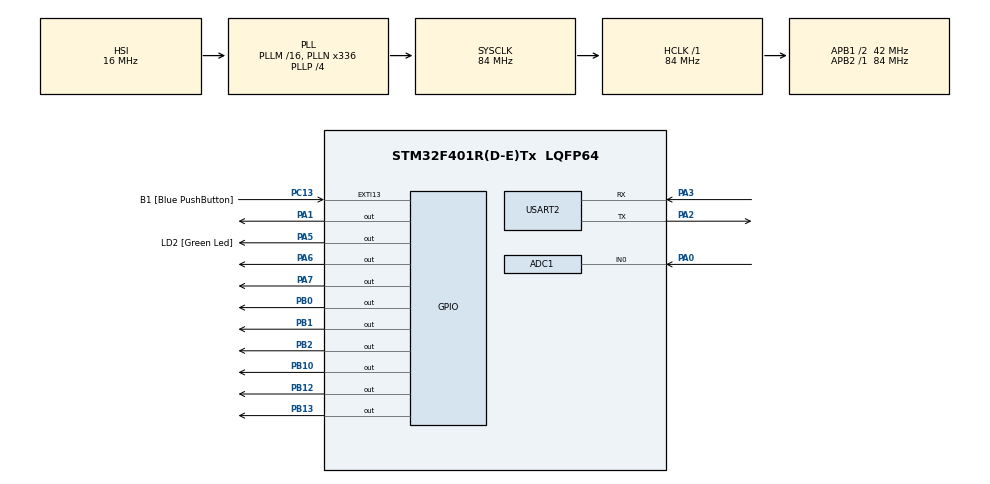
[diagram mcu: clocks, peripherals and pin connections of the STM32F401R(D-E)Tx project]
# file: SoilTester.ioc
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ADC1.Channel-1\#ChannelRegularConversion=ADC_CHANNEL_0
ADC1.NbrOfConversionFlag=1
ADC1.Rank-1\#ChannelRegularConversion=1
ADC1.SamplingTime-1\#ChannelRegularConversion=ADC_SAMPLETIME_3CYCLES
ADC1.master=1
Mcu.Family=STM32F4
Mcu.Name=STM32F401R(D-E)Tx
Mcu.Package=LQFP64
NVIC.PriorityGroup=NVIC_PRIORITYGROUP_4
PA0-WKUP.Signal=ADCx_IN0
PA1.Signal=GPIO_Output
PA13.GPIO_Label=TMS
PA13.Mode=Trace_Asynchronous_SW
PA13.Signal=SYS_JTMS-SWDIO
PA14.GPIO_Label=TCK
PA14.Mode=Trace_Asynchronous_SW
PA14.Signal=SYS_JTCK-SWCLK
PA2.Mode=Asynchronous
PA2.Signal=USART2_TX
PA3.Mode=Asynchronous
PA3.Signal=USART2_RX
PA5.GPIO_Label=LD2 [Green Led]
PA5.GPIO_Mode=GPIO_MODE_OUTPUT_PP
PA5.GPIO_PuPd=GPIO_NOPULL
PA5.GPIO_Speed=GPIO_SPEED_FREQ_LOW
PA5.Signal=GPIO_Output
PA6.Signal=GPIO_Output
PA7.Signal=GPIO_Output
PB0.Signal=GPIO_Output
PB1.Signal=GPIO_Output
PB10.Signal=GPIO_Output
PB12.Signal=GPIO_Output
PB13.Signal=GPIO_Output
PB2.Signal=GPIO_Output
PB3.GPIO_Label=SWO
PB3.Mode=Trace_Asynchronous_SW
PB3.Signal=SYS_JTDO-SWO
PC13-ANTI_TAMP.GPIO_Label=B1 [Blue PushButton]
PC13-ANTI_TAMP.GPIO_ModeDefaultEXTI=GPIO_MODE_IT_FALLING
PC13-ANTI_TAMP.GPIO_PuPd=GPIO_NOPULL
PC13-ANTI_TAMP.Signal=GPXTI13
PC14-OSC32_IN.Mode=LSE-External-Oscillator
PC14-OSC32_IN.Signal=RCC_OSC32_IN
PC15-OSC32_OUT.Mode=LSE-External-Oscillator
PC15-OSC32_OUT.Signal=RCC_OSC32_OUT
PH0\ -\ OSC_IN.Mode=HSE-External-Clock-Source
PH0\ -\ OSC_IN.Signal=RCC_OSC_IN
PH1\ -\ OSC_OUT.Mode=HSE-External-Clock-Source
PH1\ -\ OSC_OUT.Signal=RCC_OSC_OUT
ProjectManager.HeapSize=0x200
ProjectManager.StackSize=0x400
ProjectManager.TargetToolchain=STM32CubeIDE
RCC.48MHZClocksFreq_Value=48000000
RCC.AHBFreq_Value=84000000
RCC.APB1CLKDivider=RCC_HCLK_DIV2
RCC.APB1Freq_Value=42000000
RCC.APB1TimFreq_Value=84000000
RCC.APB2Freq_Value=84000000
RCC.APB2TimFreq_Value=84000000
RCC.CortexFreq_Value=84000000
RCC.HCLKFreq_Value=84000000
RCC.HSE_VALUE=8000000
RCC.HSI_VALUE=16000000
RCC.PLLN=336
RCC.PLLP=RCC_PLLP_DIV4
RCC.PLLQ=7
RCC.SYSCLKFreq_VALUE=84000000
RCC.SYSCLKSource=RCC_SYSCLKSOURCE_PLLCLK
RCC.VCOOutputFreq_Value=336000000
SH.ADCx_IN0.0=ADC1_IN0,IN0
TIM2.Prescaler=83
USART2.VirtualMode=VM_ASYNC
VP_TIM2_VS_ClockSourceINT.Mode=Internal
board=NUCLEO-F401RE

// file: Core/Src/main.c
/* USER CODE BEGIN Header */
/**
  ******************************************************************************
  * @file           : main.c
  * @brief          : Main program body
  ******************************************************************************
  * @attention
  *
  * Copyright (c) 2026 STMicroelectronics.
  * All rights reserved.
  *
  * This software is licensed under terms that can be found in the LICENSE file
  * in the root directory of this software component.
  * If no LICENSE file comes with this software, it is provided AS-IS.
  *
  ******************************************************************************
  */
/* USER CODE END Header */

#include "main.h"
#include <stdio.h>

/* USER CODE BEGIN PD */
#define DHT11_PORT GPIOA
#define DHT11_PIN  GPIO_PIN_1

#define LCD_RS_PORT GPIOB
#define LCD_RS_PIN  GPIO_PIN_0

#define LCD_E_PORT  GPIOB
#define LCD_E_PIN   GPIO_PIN_1

#define LCD_D4_PORT GPIOB
#define LCD_D4_PIN  GPIO_PIN_2

#define LCD_D5_PORT GPIOB
#define LCD_D5_PIN  GPIO_PIN_10

#define LCD_D6_PORT GPIOB
#define LCD_D6_PIN  GPIO_PIN_12

#define LCD_D7_PORT GPIOB
#define LCD_D7_PIN  GPIO_PIN_13
/* USER CODE END PD */

ADC_HandleTypeDef hadc1;

TIM_HandleTypeDef htim2;

UART_HandleTypeDef huart2;

/* USER CODE BEGIN PV */

uint8_t Rh_byte1, Rh_byte2, Temp_byte1, Temp_byte2;
uint16_t SUM;
uint8_t Presence = 0;

char lcd_line1[17];
char lcd_line2[17];

/* USER CODE END PV */

void SystemClock_Config(void);
static void MX_GPIO_Init(void);
static void MX_ADC1_Init(void);
static void MX_USART2_UART_Init(void);
static void MX_TIM2_Init(void);
/* USER CODE BEGIN PFP */
void Delay_us(uint16_t us);
void Set_Pin_Output(GPIO_TypeDef *GPIOx, uint16_t GPIO_Pin);
void Set_Pin_Input(GPIO_TypeDef *GPIOx, uint16_t GPIO_Pin);

void DHT11_Start(void);
uint8_t DHT11_Check_Response(void);
uint8_t DHT11_Read(void);

uint16_t Read_ADC_Value(void);
const char* Get_Soil_Status(uint16_t moisture);
void Update_Soil_LEDs(uint16_t moisture);

void LCD_PulseEnable(void);
void LCD_Write4Bits(uint8_t nibble);
void LCD_SendCommand(uint8_t cmd);
void LCD_SendData(uint8_t data);
void LCD_Init(void);
void LCD_Clear(void);
void LCD_SetCursor(uint8_t row, uint8_t col);
void LCD_SendString(char *str);
void LCD_PrintFixedLine(uint8_t row, char *text);
/* USER CODE END PFP */
/* USER CODE END 0 */

/* USER CODE END PFP */

/* USER CODE BEGIN 0 */

void Delay_us(uint16_t us)
{
    __HAL_TIM_SET_COUNTER(&htim2, 0);
    while (__HAL_TIM_GET_COUNTER(&htim2) < us);
}

void Set_Pin_Output(GPIO_TypeDef *GPIOx, uint16_t GPIO_Pin)
{
    GPIO_InitTypeDef GPIO_InitStruct = {0};
    GPIO_InitStruct.Pin = GPIO_Pin;
    GPIO_InitStruct.Mode = GPIO_MODE_OUTPUT_PP;
    GPIO_InitStruct.Pull = GPIO_NOPULL;
    GPIO_InitStruct.Speed = GPIO_SPEED_FREQ_LOW;
    HAL_GPIO_Init(GPIOx, &GPIO_InitStruct);
}

void Set_Pin_Input(GPIO_TypeDef *GPIOx, uint16_t GPIO_Pin)
{
    GPIO_InitTypeDef GPIO_InitStruct = {0};
    GPIO_InitStruct.Pin = GPIO_Pin;
    GPIO_InitStruct.Mode = GPIO_MODE_INPUT;
    GPIO_InitStruct.Pull = GPIO_PULLUP;
    HAL_GPIO_Init(GPIOx, &GPIO_InitStruct);
}

/* ---------------- DHT11 ---------------- */

void DHT11_Start(void)
{
    Set_Pin_Output(DHT11_PORT, DHT11_PIN);
    HAL_GPIO_WritePin(DHT11_PORT, DHT11_PIN, GPIO_PIN_RESET);
    HAL_Delay(20);
    HAL_GPIO_WritePin(DHT11_PORT, DHT11_PIN, GPIO_PIN_SET);
    Delay_us(40);
    Set_Pin_Input(DHT11_PORT, DHT11_PIN);
}

uint8_t DHT11_Check_Response(void)
{
    uint32_t timeout = 0;

    Delay_us(40);

    if (HAL_GPIO_ReadPin(DHT11_PORT, DHT11_PIN) == GPIO_PIN_RESET)
    {
        timeout = 0;
        while (HAL_GPIO_ReadPin(DHT11_PORT, DHT11_PIN) == GPIO_PIN_RESET)
        {
            Delay_us(1);
            if (++timeout > 100) return 0;
        }

        timeout = 0;
        while (HAL_GPIO_ReadPin(DHT11_PORT, DHT11_PIN) == GPIO_PIN_SET)
        {
            Delay_us(1);
            if (++timeout > 100) return 0;
        }

        return 1;
    }

    return 0;
}

uint8_t DHT11_Read(void)
{
    uint8_t i = 0;
    uint32_t timeout = 0;

    for (uint8_t j = 0; j < 8; j++)
    {
        timeout = 0;
        while (HAL_GPIO_ReadPin(DHT11_PORT, DHT11_PIN) == GPIO_PIN_RESET)
        {
            Delay_us(1);
            if (++timeout > 100) return 0;
        }

        Delay_us(30);

        if (HAL_GPIO_ReadPin(DHT11_PORT, DHT11_PIN) == GPIO_PIN_SET)
        {
            i |= (1 << (7 - j));
        }

        timeout = 0;
        while (HAL_GPIO_ReadPin(DHT11_PORT, DHT11_PIN) == GPIO_PIN_SET)
        {
            Delay_us(1);
            if (++timeout > 100) break;
        }
    }

    return i;
}

/* ---------------- ADC / Soil ---------------- */

uint16_t Read_ADC_Value(void)
{
    uint16_t adc_value = 0;

    HAL_ADC_Start(&hadc1);

    if (HAL_ADC_PollForConversion(&hadc1, 100) == HAL_OK)
    {
        adc_value = HAL_ADC_GetValue(&hadc1);
    }

    HAL_ADC_Stop(&hadc1);

    return adc_value;
}

/* Adapted from your working logic:
   moisture < 1500   -> DRY
   moisture < 2200   -> MEDIUM
   else              -> WET
*/
const char* Get_Soil_Status(uint16_t moisture)
{
    if (moisture < 1500)
    {
        return "DRY";
    }
    else if (moisture < 2200)
    {
        return "MEDIUM";
    }
    else
    {
        return "WET";
    }
}

void Update_Soil_LEDs(uint16_t moisture)
{
    HAL_GPIO_WritePin(GPIOA, GPIO_PIN_5, GPIO_PIN_RESET); // Green
    HAL_GPIO_WritePin(GPIOA, GPIO_PIN_6, GPIO_PIN_RESET); // Yellow
    HAL_GPIO_WritePin(GPIOA, GPIO_PIN_7, GPIO_PIN_RESET); // Red

    if (moisture < 1500)
    {
        HAL_GPIO_WritePin(GPIOA, GPIO_PIN_7, GPIO_PIN_SET); // Red
    }
    else if (moisture < 2200)
    {
        HAL_GPIO_WritePin(GPIOA, GPIO_PIN_6, GPIO_PIN_SET); // Yellow
    }
    else
    {
        HAL_GPIO_WritePin(GPIOA, GPIO_PIN_5, GPIO_PIN_SET); // Green
    }
}

/* ---------------- LCD ---------------- */

void LCD_PulseEnable(void)
{
    HAL_GPIO_WritePin(LCD_E_PORT, LCD_E_PIN, GPIO_PIN_SET);
    HAL_Delay(1);
    HAL_GPIO_WritePin(LCD_E_PORT, LCD_E_PIN, GPIO_PIN_RESET);
    HAL_Delay(1);
}

void LCD_Write4Bits(uint8_t nibble)
{
    HAL_GPIO_WritePin(LCD_D4_PORT, LCD_D4_PIN, (nibble & 0x01) ? GPIO_PIN_SET : GPIO_PIN_RESET);
    HAL_GPIO_WritePin(LCD_D5_PORT, LCD_D5_PIN, (nibble & 0x02) ? GPIO_PIN_SET : GPIO_PIN_RESET);
    HAL_GPIO_WritePin(LCD_D6_PORT, LCD_D6_PIN, (nibble & 0x04) ? GPIO_PIN_SET : GPIO_PIN_RESET);
    HAL_GPIO_WritePin(LCD_D7_PORT, LCD_D7_PIN, (nibble & 0x08) ? GPIO_PIN_SET : GPIO_PIN_RESET);

    LCD_PulseEnable();
}

void LCD_SendCommand(uint8_t cmd)
{
    HAL_GPIO_WritePin(LCD_RS_PORT, LCD_RS_PIN, GPIO_PIN_RESET);
    LCD_Write4Bits((cmd >> 4) & 0x0F);
    LCD_Write4Bits(cmd & 0x0F);
    HAL_Delay(2);
}

void LCD_SendData(uint8_t data)
{
    HAL_GPIO_WritePin(LCD_RS_PORT, LCD_RS_PIN, GPIO_PIN_SET);
    LCD_Write4Bits((data >> 4) & 0x0F);
    LCD_Write4Bits(data & 0x0F);
    HAL_Delay(2);
}

void LCD_Init(void)
{
    HAL_Delay(50);

    HAL_GPIO_WritePin(LCD_RS_PORT, LCD_RS_PIN, GPIO_PIN_RESET);
    HAL_GPIO_WritePin(LCD_E_PORT, LCD_E_PIN, GPIO_PIN_RESET);

    LCD_Write4Bits(0x03);
    HAL_Delay(5);
    LCD_Write4Bits(0x03);
    HAL_Delay(5);
    LCD_Write4Bits(0x03);
    HAL_Delay(5);
    LCD_Write4Bits(0x02);
    HAL_Delay(5);

    LCD_SendCommand(0x28); // 4-bit, 2-line
    LCD_SendCommand(0x08); // display off
    LCD_SendCommand(0x01); // clear
    HAL_Delay(3);
    LCD_SendCommand(0x06); // entry mode
    LCD_SendCommand(0x0C); // display on, cursor off
}

void LCD_Clear(void)
{
    LCD_SendCommand(0x01);
    HAL_Delay(3);
}

void LCD_SetCursor(uint8_t row, uint8_t col)
{
    uint8_t addr = (row == 0) ? (0x80 + col) : (0xC0 + col);
    LCD_SendCommand(addr);
}

void LCD_SendString(char *str)
{
    while (*str)
    {
        LCD_SendData(*str++);
    }
}

void LCD_PrintFixedLine(uint8_t row, char *text)
{
    char buffer[17];
    snprintf(buffer, sizeof(buffer), "%-16s", text);
    LCD_SetCursor(row, 0);
    LCD_SendString(buffer);
}

/* USER CODE END 0 */

int main(void)
{

  /* MCU Configuration--------------------------------------------------------*/

  /* Reset of all peripherals, Initializes the Flash interface and the Systick. */
  HAL_Init();

  /* Configure the system clock */
  SystemClock_Config();

  /* Initialize all configured peripherals */
  MX_GPIO_Init();
  MX_ADC1_Init();
  MX_USART2_UART_Init();
  MX_TIM2_Init();
  /* USER CODE BEGIN 2 */

  HAL_TIM_Base_Start(&htim2);

  LCD_Init();
  LCD_Clear();
  LCD_PrintFixedLine(0, "Smart Soil Test");
  LCD_PrintFixedLine(1, "Starting...");
  HAL_Delay(1500);

  /* USER CODE END 2 */

  /* Infinite loop */
  /* USER CODE BEGIN WHILE */
  while (1)
  {
          uint16_t moisture = Read_ADC_Value();
          const char *soil_status = Get_Soil_Status(moisture);
          uint8_t dht_ok = 0;

          DHT11_Start();
          Presence = DHT11_Check_Response();

          if (!Presence)
          {
              HAL_Delay(50);
              DHT11_Start();
              Presence = DHT11_Check_Response();
          }

          if (Presence)
          {
              Rh_byte1   = DHT11_Read();
              Rh_byte2   = DHT11_Read();
              Temp_byte1 = DHT11_Read();
              Temp_byte2 = DHT11_Read();
              SUM        = DHT11_Read();

              if (SUM == (Rh_byte1 + Rh_byte2 + Temp_byte1 + Temp_byte2))
              {
                  dht_ok = 1;
              }
          }

          Update_Soil_LEDs(moisture);

          if (dht_ok)
          {
              snprintf(lcd_line1, sizeof(lcd_line1), "T:%2dC H:%2d%%", Temp_byte1, Rh_byte1);
              snprintf(lcd_line2, sizeof(lcd_line2), "S:%-6s %4u", soil_status, moisture);

              printf("Temp: %d C | Humidity: %d %% | Moisture: %u | Status: %s\r\n",
                     Temp_byte1, Rh_byte1, moisture, soil_status);
          }
          else
          {
              snprintf(lcd_line1, sizeof(lcd_line1), "T/H Read Failed");
              snprintf(lcd_line2, sizeof(lcd_line2), "S:%-6s %4u", soil_status, moisture);

              printf("Temp/Humidity read failed | Moisture: %u | Status: %s\r\n",
                     moisture, soil_status);
          }

          LCD_PrintFixedLine(0, lcd_line1);
          LCD_PrintFixedLine(1, lcd_line2);

          HAL_Delay(3000);
      }
    /* USER CODE END 3 */
}

void SystemClock_Config(void)
{
  RCC_OscInitTypeDef RCC_OscInitStruct = {0};
  RCC_ClkInitTypeDef RCC_ClkInitStruct = {0};

  /** Configure the main internal regulator output voltage
  */
  __HAL_RCC_PWR_CLK_ENABLE();
  __HAL_PWR_VOLTAGESCALING_CONFIG(PWR_REGULATOR_VOLTAGE_SCALE2);

  /** Initializes the RCC Oscillators according to the specified parameters
  * in the RCC_OscInitTypeDef structure.
  */
  RCC_OscInitStruct.OscillatorType = RCC_OSCILLATORTYPE_HSI;
  RCC_OscInitStruct.HSIState = RCC_HSI_ON;
  RCC_OscInitStruct.HSICalibrationValue = RCC_HSICALIBRATION_DEFAULT;
  RCC_OscInitStruct.PLL.PLLState = RCC_PLL_ON;
  RCC_OscInitStruct.PLL.PLLSource = RCC_PLLSOURCE_HSI;
  RCC_OscInitStruct.PLL.PLLM = 16;
  RCC_OscInitStruct.PLL.PLLN = 336;
  RCC_OscInitStruct.PLL.PLLP = RCC_PLLP_DIV4;
  RCC_OscInitStruct.PLL.PLLQ = 7;
  if (HAL_RCC_OscConfig(&RCC_OscInitStruct) != HAL_OK)
  {
    Error_Handler();
  }

  /** Initializes the CPU, AHB and APB buses clocks
  */
  RCC_ClkInitStruct.ClockType = RCC_CLOCKTYPE_HCLK|RCC_CLOCKTYPE_SYSCLK
                              |RCC_CLOCKTYPE_PCLK1|RCC_CLOCKTYPE_PCLK2;
  RCC_ClkInitStruct.SYSCLKSource = RCC_SYSCLKSOURCE_PLLCLK;
  RCC_ClkInitStruct.AHBCLKDivider = RCC_SYSCLK_DIV1;
  RCC_ClkInitStruct.APB1CLKDivider = RCC_HCLK_DIV2;
  RCC_ClkInitStruct.APB2CLKDivider = RCC_HCLK_DIV1;

  if (HAL_RCC_ClockConfig(&RCC_ClkInitStruct, FLASH_LATENCY_2) != HAL_OK)
  {
    Error_Handler();
  }
}

static void MX_ADC1_Init(void)
{

  ADC_ChannelConfTypeDef sConfig = {0};

  /** Configure the global features of the ADC (Clock, Resolution, Data Alignment and number of conversion)
  */
  hadc1.Instance = ADC1;
  hadc1.Init.ClockPrescaler = ADC_CLOCK_SYNC_PCLK_DIV4;
  hadc1.Init.Resolution = ADC_RESOLUTION_12B;
  hadc1.Init.ScanConvMode = DISABLE;
  hadc1.Init.ContinuousConvMode = DISABLE;
  hadc1.Init.DiscontinuousConvMode = DISABLE;
  hadc1.Init.ExternalTrigConvEdge = ADC_EXTERNALTRIGCONVEDGE_NONE;
  hadc1.Init.ExternalTrigConv = ADC_SOFTWARE_START;
  hadc1.Init.DataAlign = ADC_DATAALIGN_RIGHT;
  hadc1.Init.NbrOfConversion = 1;
  hadc1.Init.DMAContinuousRequests = DISABLE;
  hadc1.Init.EOCSelection = ADC_EOC_SINGLE_CONV;
  if (HAL_ADC_Init(&hadc1) != HAL_OK)
  {
    Error_Handler();
  }

  /** Configure for the selected ADC regular channel its corresponding rank in the sequencer and its sample time.
  */
  sConfig.Channel = ADC_CHANNEL_0;
  sConfig.Rank = 1;
  sConfig.SamplingTime = ADC_SAMPLETIME_3CYCLES;
  if (HAL_ADC_ConfigChannel(&hadc1, &sConfig) != HAL_OK)
  {
    Error_Handler();
  }

}

static void MX_TIM2_Init(void)
{

  TIM_ClockConfigTypeDef sClockSourceConfig = {0};
  TIM_MasterConfigTypeDef sMasterConfig = {0};

  htim2.Instance = TIM2;
  htim2.Init.Prescaler = 83;
  htim2.Init.CounterMode = TIM_COUNTERMODE_UP;
  htim2.Init.Period = 4294967295;
  htim2.Init.ClockDivision = TIM_CLOCKDIVISION_DIV1;
  htim2.Init.AutoReloadPreload = TIM_AUTORELOAD_PRELOAD_DISABLE;
  if (HAL_TIM_Base_Init(&htim2) != HAL_OK)
  {
    Error_Handler();
  }
  sClockSourceConfig.ClockSource = TIM_CLOCKSOURCE_INTERNAL;
  if (HAL_TIM_ConfigClockSource(&htim2, &sClockSourceConfig) != HAL_OK)
  {
    Error_Handler();
  }
  sMasterConfig.MasterOutputTrigger = TIM_TRGO_RESET;
  sMasterConfig.MasterSlaveMode = TIM_MASTERSLAVEMODE_DISABLE;
  if (HAL_TIMEx_MasterConfigSynchronization(&htim2, &sMasterConfig) != HAL_OK)
  {
    Error_Handler();
  }

}

static void MX_USART2_UART_Init(void)
{

  huart2.Instance = USART2;
  huart2.Init.BaudRate = 115200;
  huart2.Init.WordLength = UART_WORDLENGTH_8B;
  huart2.Init.StopBits = UART_STOPBITS_1;
  huart2.Init.Parity = UART_PARITY_NONE;
  huart2.Init.Mode = UART_MODE_TX_RX;
  huart2.Init.HwFlowCtl = UART_HWCONTROL_NONE;
  huart2.Init.OverSampling = UART_OVERSAMPLING_16;
  if (HAL_UART_Init(&huart2) != HAL_OK)
  {
    Error_Handler();
  }

}

static void MX_GPIO_Init(void)
{
  GPIO_InitTypeDef GPIO_InitStruct = {0};

  /* GPIO Ports Clock Enable */
  __HAL_RCC_GPIOC_CLK_ENABLE();
  __HAL_RCC_GPIOH_CLK_ENABLE();
  __HAL_RCC_GPIOA_CLK_ENABLE();
  __HAL_RCC_GPIOB_CLK_ENABLE();

  /*Configure GPIO pin Output Level */
  HAL_GPIO_WritePin(GPIOA, GPIO_PIN_1|LD2_Pin|GPIO_PIN_6|GPIO_PIN_7, GPIO_PIN_RESET);

  /*Configure GPIO pin Output Level */
  HAL_GPIO_WritePin(GPIOB, GPIO_PIN_0|GPIO_PIN_1|GPIO_PIN_2|GPIO_PIN_10
                          |GPIO_PIN_12|GPIO_PIN_13, GPIO_PIN_RESET);

  /*Configure GPIO pin : B1_Pin */
  GPIO_InitStruct.Pin = B1_Pin;
  GPIO_InitStruct.Mode = GPIO_MODE_IT_FALLING;
  GPIO_InitStruct.Pull = GPIO_NOPULL;
  HAL_GPIO_Init(B1_GPIO_Port, &GPIO_InitStruct);

  /*Configure GPIO pins : PA1 LD2_Pin PA6 PA7 */
  GPIO_InitStruct.Pin = GPIO_PIN_1|LD2_Pin|GPIO_PIN_6|GPIO_PIN_7;
  GPIO_InitStruct.Mode = GPIO_MODE_OUTPUT_PP;
  GPIO_InitStruct.Pull = GPIO_NOPULL;
  GPIO_InitStruct.Speed = GPIO_SPEED_FREQ_LOW;
  HAL_GPIO_Init(GPIOA, &GPIO_InitStruct);

  /*Configure GPIO pins : PB0 PB1 PB2 PB10
                           PB12 PB13 */
  GPIO_InitStruct.Pin = GPIO_PIN_0|GPIO_PIN_1|GPIO_PIN_2|GPIO_PIN_10
                          |GPIO_PIN_12|GPIO_PIN_13;
  GPIO_InitStruct.Mode = GPIO_MODE_OUTPUT_PP;
  GPIO_InitStruct.Pull = GPIO_NOPULL;
  GPIO_InitStruct.Speed = GPIO_SPEED_FREQ_LOW;
  HAL_GPIO_Init(GPIOB, &GPIO_InitStruct);

}

/* USER CODE BEGIN 4 */

int _write(int file, char *ptr, int len)
{
  (void)file;
  int DataIdx;

  for (DataIdx = 0; DataIdx < len; DataIdx++)
  {
    ITM_SendChar(*ptr++);
  }
  return len;
}

/* USER CODE END 4 */

void Error_Handler(void)
{
  __disable_irq();
  while (1)
  {
  }
}
